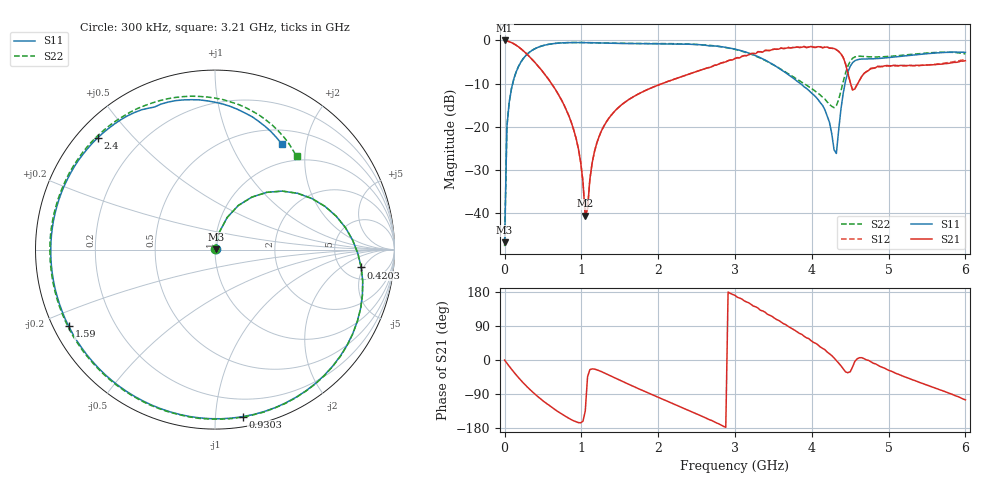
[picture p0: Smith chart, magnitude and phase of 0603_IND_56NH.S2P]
!Agilent Technologies,E5071C,MY46106283,A.09.10
!Date: Wed Jan 24 00:00:16 2001
!Data & Calibration Information:
!Freq	S11:SOLT2(ON)	S41:SOLT2(ON)	S14:SOLT2(ON)	S44:SOLT2(ON)
# Hz S dB R 50
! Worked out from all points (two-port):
!   201 points, 300 kHz to 6 GHz, reference 50 ohm
!   highest |S21| = -0.01 dB at 300 kHz (marker M1); lowest = -40.7 dB at 1.05 GHz (marker M2)
!   |S21| within 3 dB of the highest: start of sweep to 281 MHz; 3.274 GHz to 4.374 GHz (1.1 GHz wide, 28.8 % of centre)
!   lowest |S11| = -46.8 dB at 300 kHz (marker M3), VSWR 1.01, Z = 50.4 + j0.191 ohm
!   |S11| at or under -10 dB: start of sweep to 105.8 MHz; 3.85 GHz to 4.433 GHz (583 MHz wide, 14.1 % of centre)
!   |S22| runs from -47.7 to -0.5 dB; largest |S21 - S12| = 0.028
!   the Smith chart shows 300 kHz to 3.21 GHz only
!   S11 on the Smith chart (normalised r, x): 300 kHz: 1.01, +0.00; 420.3 MHz: 7.37, -4.50; 930.3 MHz: 0.07, -1.18; 1.59 GHz: 0.04, -0.25; 2.4 GHz: 0.06, +0.40; 3.21 GHz: 0.69, +1.59
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300000  -46.84 24.6  -0.01 -0.3  -0.04 -0.2  -47.71 81.9
3.02985e7  -19.95 75.9  -0.14 -8.5  -0.14 -8.6  -19.96 75.9
6.0297e7  -14.34 69.3  -0.30 -16.6  -0.30 -16.6  -14.33 69.2
2.102895e8  -5.08 34.2  -1.90 -53.2  -1.91 -53.2  -5.08 34.3
4.20279e8  -1.71 -7.0  -5.65 -94.5  -5.64 -94.4  -1.72 -7.0
9.302535e8  -0.51 -80.6  -22.68 -163.0  -22.65 -163.1  -0.48 -81.0
1.020249e9  -0.52 -91.5  -32.78 -161.6  -32.71 -162.1  -0.50 -92.1
1.050248e9  -0.52 -95.1  -40.67 -134.9  -40.61 -135.5  -0.50 -95.7
1.230238e9  -0.60 -115.5  -22.30 -28.1  -22.30 -28.1  -0.57 -116.4
1.59022e9  -0.73 -152.3  -14.05 -61.7  -14.06 -61.7  -0.69 -154.5
2.0102e9  -0.78 169.7  -10.28 -99.2  -10.30 -99.2  -0.73 165.5
2.40018e9  -0.89 136.4  -7.81 -133.1  -7.82 -133.2  -0.85 129.9
3.00015e9  -2.03 80.9  -4.16 170.5  -4.22 170.5  -2.08 71.5
3.21014e9  -3.13 57.8  -3.03 146.7  -3.10 146.7  -3.22 48.8
3.690116e9  -7.88 -3.1  -1.71 89.0  -1.60 89.0  -7.70 -1.6
4.020099e9  -12.56 -53.8  -1.61 46.7  -1.51 46.5  -11.44 -30.8
4.320084e9  -26.22 -20.7  -2.16 -1.3  -2.17 -2.0  -15.10 -14.7
4.500075e9  -6.02 -35.9  -9.67 -30.9  -9.71 -31.9  -4.83 -29.5
4.650068e9  -4.33 -85.4  -8.36 6.1  -8.35 4.5  -3.68 -73.2
5.01005e9  -3.97 -133.5  -5.89 -28.0  -5.98 -28.7  -3.70 -125.0
5.550022e9  -3.00 -170.9  -5.67 -69.9  -5.62 -69.9  -2.86 -178.1
6e9  -2.76 163.0  -4.71 -105.1  -4.44 -107.1  -3.15 138.1
